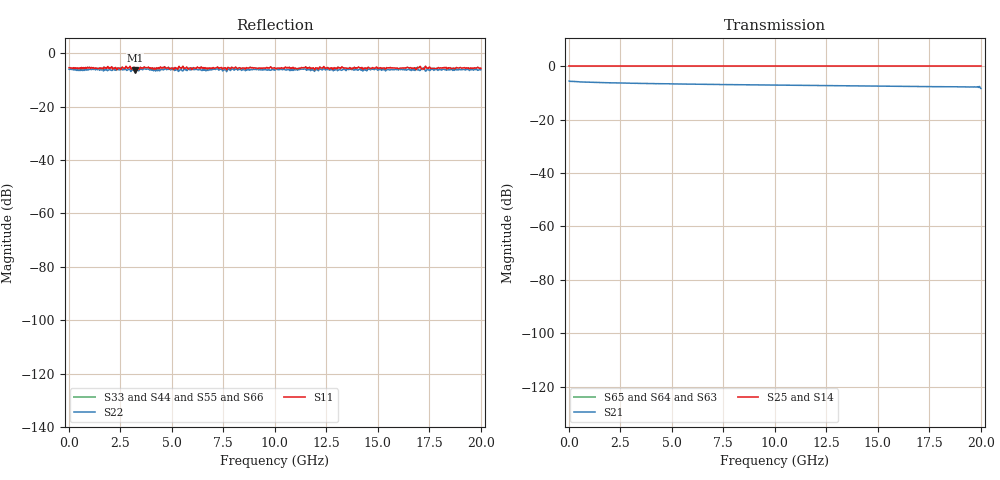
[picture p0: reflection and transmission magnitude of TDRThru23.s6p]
! File created by SignalIntegrity v1.3.3: Signal and Power Integrity Tools
! https://github.com/TeledyneLeCroy/SignalIntegrity
# MHz S MA R 50.0
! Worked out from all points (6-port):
!   1000 points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, 20 MHz to 20 GHz, reference 50 ohm
!   strongest paths, dB at 20 MHz, 5.02 GHz, 10.02 GHz, 15.02 GHz, 20 GHz:
!     S25: 0.0, 0.0, 0.0, 0.0, 0.0
!     S14: 0.0, 0.0, 0.0, 0.0, 0.0
!     S21: -5.6, -6.6, -7.1, -7.5, -8.3
!     S65: -, -, -, -, -
!     S64: -, -, -, -, -
!     S63: -, -, -, -, -
!   lowest |S11| = -6.4 dB at 3.22 GHz (marker M1), VSWR 2.85, Z = 142 - j5.19 ohm
!   |S11| at or under -10 dB: nowhere
